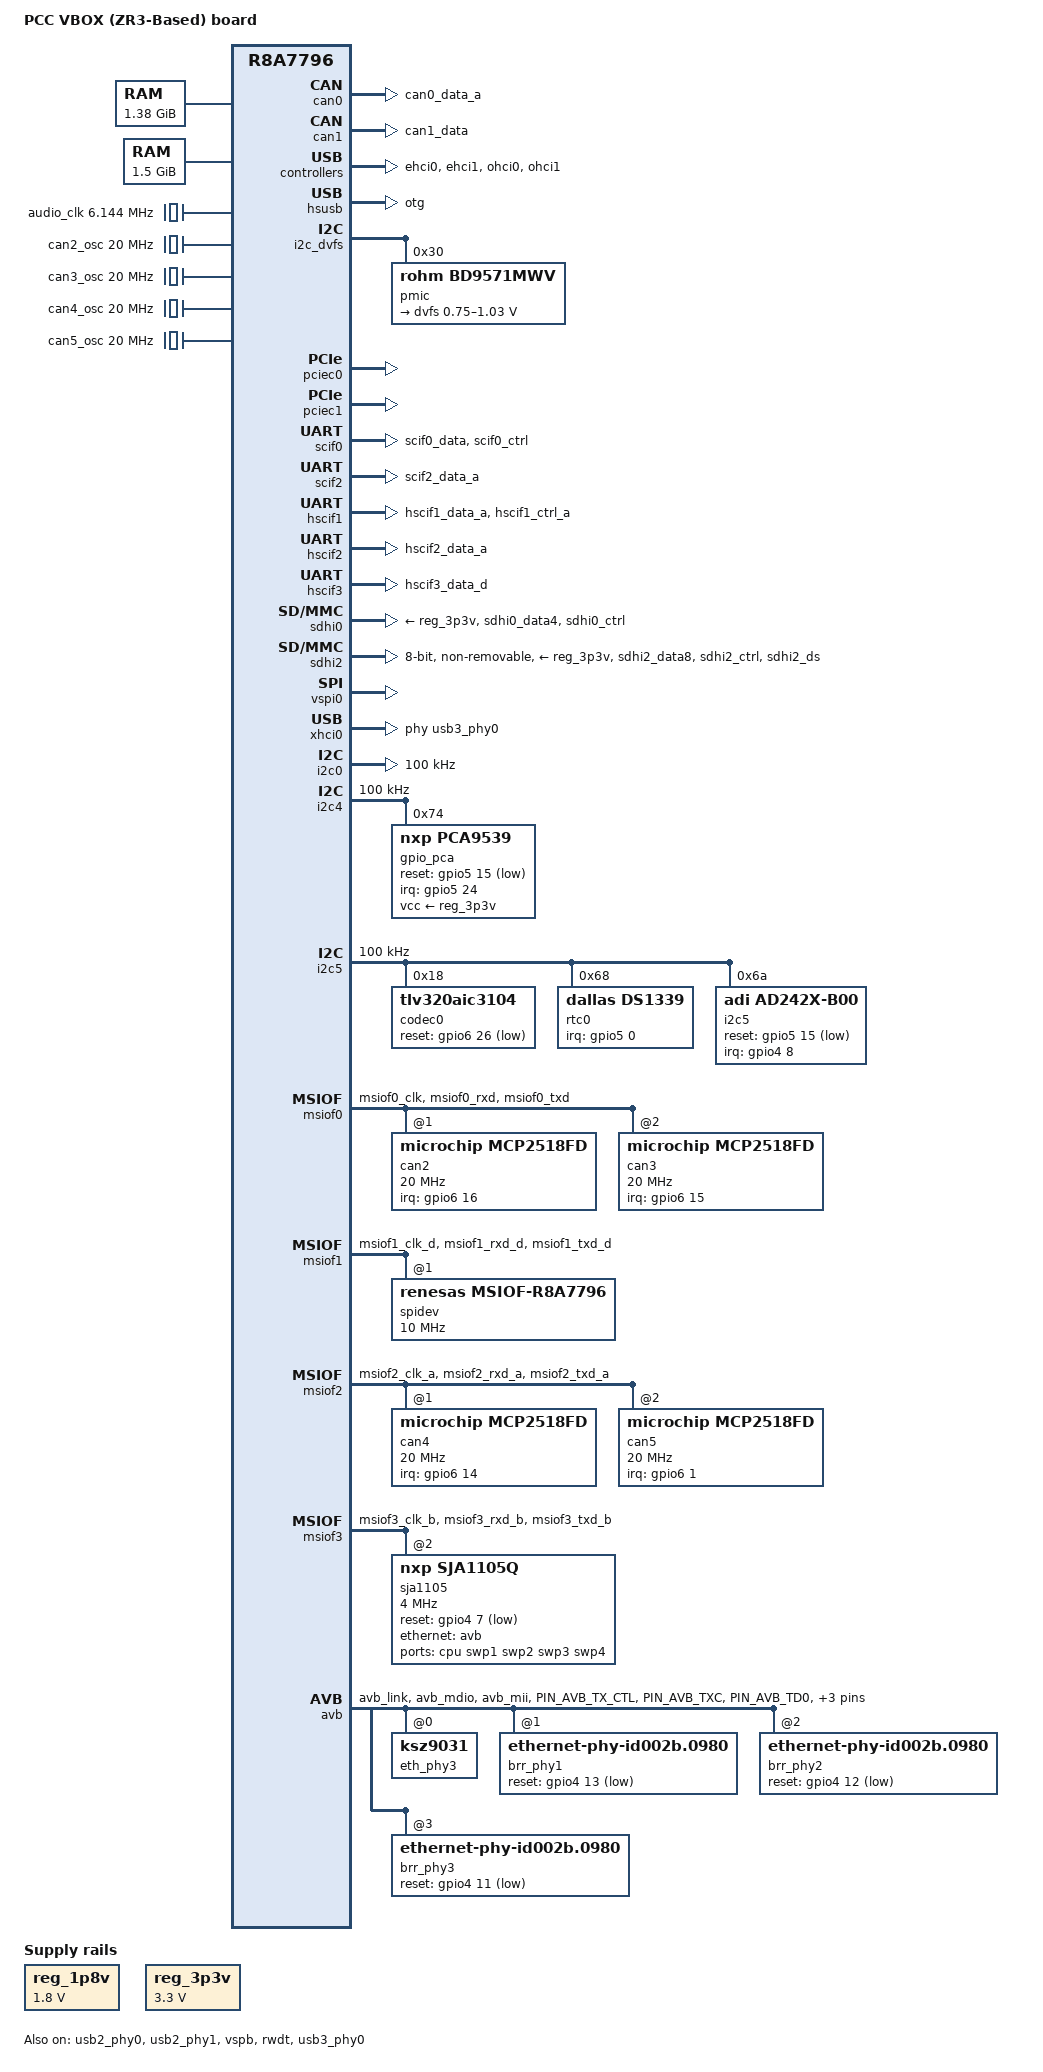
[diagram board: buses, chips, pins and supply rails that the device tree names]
/*
 * Device Tree Source for the PCC MIBSTD3 board
 *
 * Copyright (C) 2016 Renesas Electronics Corp.
 *
 * This file is licensed under the terms of the GNU General Public License
 * version 2.  This program is licensed "as is" without any warranty of any
 * kind, whether express or implied.
 */

#define NO_EXT_DOTCLK
#define DISPLAY_RESOLUTION 19201080
/* #define DISPLAY_RESOLUTION 19201200 */

/dts-v1/;
#include "r8a7796.dtsi"
#include <dt-bindings/gpio/gpio.h>

/ {
	model = "PCC VBOX (ZR3-Based) board";
	compatible = "renesas,salvator-x", "renesas,r8a7796";

	aliases {
		serial0 = &scif0;  /* Kernel */
		serial1 = &hscif1; /* uart_ext (BT on mib3)*/
		serial2 = &hscif2; /* uart_lin (GPS on mib3) */
		serial3 = &hscif3; /* uart_ext2 (unused on mib3) */
		serial4 = &scif2;  /* carcom (controlled by R7 on mib3) */
		ethernet0 = &avb;
		mmc0 = &sdhi0;
		mmc1 = &sdhi2;
	};

	chosen {
		bootargs = "ignore_loglevel";
		stdout-path = "serial0:115200n8";
	};

	/** Memory Map
	 *   0x0 4000 0000 -- 0x0 47ff ffff (size: 0x07ff ffff) 128MB reserved for secure area
	 *
	 *   0x0 4800 0000 -- 0x0 9fff ffff (size: 0x5800 0000 (1408MB))
	 *     reserved memory in this area:
	 *       0x5000 0000 -- 0x50ff ffff DSP               16MB
	 *       0x5100 0000 -- 0x513f ffff DSP shm log        3MB
	 *       0x5180 0000 -- 0x537f ffff CR7               32MB
	 *       0x5380 0000 -- 0x53ff ffff CR7 shared mem     8MB
	 *                       -> 0x53800000 1MB commgr shared mem
	 *                       -> 0x53900000 3MB r7 logbuff mem
	 *       0x5400 0000 -- 0x56ff ffff lossy decompress  48MB
	 *       0x5700 0000 -- 0x6fff ffff CMA              400MB
	 *       0x7000 0000 -- 0x8000 0000 Multimedia       256MB
	 *       0x8000 0000 -- 0x803f ffff DSP shared mem     4MB
	 *       -> commgr:     0x8000 0000 - 0x8010 0000   1MB
	 *       -> snd_ent.:   0x8010 0000 - 0x8000 7fff  32KB
	 *       -> snd_ann1:   0x8010 8000 - 0x8000 ffff  32KB
	 *       -> snd_ann2:   0x8011 0000 - 0x8001 7fff  32KB
	 *       -> snd_ann3:   0x8011 8000 - 0x8001 ffff  32KB
	 *
	 *   0x4 8000 0000 -- 0x4 dfff ffff (size: 0x6000 0000 (1536MB))
	 *
	 *   0x6 0000 0000 -- 0x6 5fff ffff (size: 0x6000 0000 (1536MB))
	 *
	 *   0x6 8000 0000 -- 0x6 dfff ffff (size: 0x6000 0000 (1536MB))
	 *
	 */

	memory@48000000 {
		device_type = "memory";
		/* first 128MB is reserved for secure area. */
		reg = <0x0 0x48000000 0x0 0x58000000>;
	};

	memory@480000000 {
		device_type = "memory";
		reg = <0x4 0x80000000 0x0 0x60000000>;
	};

/* only 3gb on vbox board
	memory@600000000 {
		device_type = "memory";
		reg = <0x6 0x00000000 0x0 0x60000000>;
	};

	memory@680000000 {
		device_type = "memory";
		reg = <0x6 0x80000000 0x0 0x60000000>;
	};
*/

	reserved-memory {
		#address-cells = <2>;
		#size-cells = <2>;
		ranges;

		/* device specific region for Lossy Decompression */
		lossy_decompress: linux,lossy_decompress {
			compatible = "shared-dma-pool";
			reg = <0x00000000 0x54000000 0x0 0x03000000>;
			no-map;
		};

		/* global autoconfigured region for contiguous allocations */
		linux,cma {
			compatible = "shared-dma-pool";
			reg = <0x00000000 0x57000000 0x0 0x19000000>;
			linux,cma-default;
			reusable;
		};

		/* device specific region for contiguous allocations */
		mmp_reserved: linux,multimedia {
			compatible = "shared-dma-pool";
			reg = <0x00000000 0x70000000 0x0 0x10000000>;
			reusable;
		};
	};

	du_dotclkin0: du_dotclkin0 {
		compatible = "fixed-clock";
		#clock-cells = <0>;
#if defined (NO_EXT_DOTCLK)
		status = "disabled";
		clock-frequency = <0>;
#else
		status = "okay";
#if DISPLAY_RESOLUTION == 19201080
		clock-frequency = <148500000>;
#elif DISPLAY_RESOLUTION == 19201200
		clock-frequency = <154128000>;
#else
#error Please specify a supported resolution
#endif /* of DISPLAY_RESOLUTION */
#endif /* of NO_EXT_DOTCLK */
	};


	audio_clk: audio_clk {
		compatible = "fixed-clock";
		#clock-cells = <0>;
		clock-frequency = /*<1536000>;/* 2 ch */ /*<3072000>; /* 4 ch */ <6144000>; /* 8 ch */
	};

	mmngr {
		compatible = "renesas,mmngr";
		memory-region = <&mmp_reserved>, <&lossy_decompress>;
	};

	mmngrbuf {
		compatible = "renesas,mmngrbuf";
	};

	reg_1p8v: regulator0 {
		compatible = "regulator-fixed";
		regulator-name = "fixed-1.8V";
		regulator-min-microvolt = <1800000>;
		regulator-max-microvolt = <1800000>;
		regulator-boot-on;
		regulator-always-on;
	};

	reg_3p3v: regulator1 {
		compatible = "regulator-fixed";
		regulator-name = "fixed-3.3V";
		regulator-min-microvolt = <3300000>;
		regulator-max-microvolt = <3300000>;
		regulator-boot-on;
		regulator-always-on;
	};

	vspm_if {
		compatible = "renesas,vspm_if";
	};

	can2_osc: can2_osc {
		compatible = "fixed-clock";
		#clock-cells = <0>;
		clock-frequency = <20000000>;
		status = "okay";
	};
	can3_osc: can3_osc {
		compatible = "fixed-clock";
		#clock-cells = <0>;
		clock-frequency = <20000000>;
		status = "okay";
	};
	can4_osc: can4_osc {
		compatible = "fixed-clock";
		#clock-cells = <0>;
		clock-frequency = <20000000>;
		status = "okay";
	};
	can5_osc: can5_osc {
		compatible = "fixed-clock";
		#clock-cells = <0>;
		clock-frequency = <20000000>;
		status = "okay";
	};
};

&can0 {
	pinctrl-0 = <&can0_pins>;
	pinctrl-names = "default";
	renesas,can-clock-select = <0x1>; /* choose clkp2 aka canfd-fi clock (80 MHz) as input */
	status = "okay";
};

&can1 {
	pinctrl-0 = <&can1_pins>;
	pinctrl-names = "default";
	renesas,can-clock-select = <0x1>; /* choose clkp2 aka canfd-fi clock (80 MHz) as input */
	status = "okay";
};

&a57_0 {
	cpu-supply = <&dvfs>;
};

&usb_extal_clk {
	clock-frequency = <50000000>;
};

&ehci0 {
	clocks = <&usb2_clock_sel>, <&cpg CPG_MOD 702>;
	status = "okay";
};

&ehci1 {
	clocks = <&usb2_clock_sel>, <&cpg CPG_MOD 702>;
	status = "okay";
};

&extal_clk {
	clock-frequency = <25000000>;
};

&hsusb {
	dr_mode= "otg";
	status = "okay";
};

&i2c_dvfs {
	status = "okay";

	pmic: pmic@30 {
		pinctrl-0 = <&irq0_pins>;
		pinctrl-names = "default";

		compatible = "rohm,bd9571mwv";
		reg = <0x30>;
		interrupt-parent = <&intc_ex>;
		interrupts = <0 IRQ_TYPE_LEVEL_LOW>;
		interrupt-controller;
		#interrupt-cells = <2>;
		gpio-controller;
		#gpio-cells = <2>;

		regulators {
			dvfs: dvfs {
				regulator-name = "dvfs";
				regulator-min-microvolt = <750000>;
				regulator-max-microvolt = <1030000>;
				regulator-boot-on;
				regulator-always-on;
			};
		};
	};
};

&ohci0 {
	nocp;
	status = "okay";
	clocks = <&usb2_clock_sel>, <&cpg CPG_MOD 702>;
};

&ohci1 {
	nocp;
	status = "okay";
	clocks = <&usb2_clock_sel>, <&cpg CPG_MOD 702>;
};

&pciec0 {
	status = "okay";
};

&pciec1 {
	status = "okay";
};

&pcie_bus_clk {
	clock-frequency = <100000000>;
	status = "okay";
};

&pfc {
	avb_pins: avb {
		mux {
			groups = "avb_link", "avb_mdio", "avb_mii";
			function = "avb";
		};

		pins_mdio {
			groups = "avb_mdio";
			drive-strength = <24>;
		};

		pins_mii_tx {
			pins = "PIN_AVB_TX_CTL", "PIN_AVB_TXC", "PIN_AVB_TD0",
				"PIN_AVB_TD1", "PIN_AVB_TD2", "PIN_AVB_TD3";
			drive-strength = <12>;
		};
	};

	hscif1_pins: hscif1 {
		groups = "hscif1_data_a", "hscif1_ctrl_a";
		function = "hscif1";
	};

	hscif2_pins: hscif2 {
		groups = "hscif2_data_a";
		function = "hscif2";
	};

	hscif3_pins: hscif3 {
		groups = "hscif3_data_d";
		function = "hscif3";
	};

	// Workaround: Disable msiof*_ss* to be able to control the CSs via GPIOs
	msiof0_pins: spi0 {
		//groups = "msiof0_clk", "msiof0_ss1", "msiof0_ss2",
		//	 "msiof0_rxd", "msiof0_txd";
		groups = "msiof0_clk", "msiof0_rxd", "msiof0_txd";
		function = "msiof0";
	};

	msiof1_pins: spi1 {
		//groups = "msiof1_clk_d", "msiof1_ss1_d",
		//	 "msiof1_rxd_d", "msiof1_txd_d";
		groups = "msiof1_clk_d", "msiof1_rxd_d", "msiof1_txd_d";
		function = "msiof1";
	};

	msiof2_pins: spi2 {
		//groups = "msiof2_clk_a", "msiof2_ss1_a", "msiof2_ss2_a",
		//	 "msiof2_rxd_a", "msiof2_txd_a";
		groups = "msiof2_clk_a", "msiof2_rxd_a", "msiof2_txd_a";
		function = "msiof2";
	};

	msiof3_pins: spi3 {
		//groups = "msiof3_clk_b", "msiof3_ss1_b", "msiof3_ss2_b",
		//	 "msiof3_rxd_b", "msiof3_txd_b";
		groups = "msiof3_clk_b", "msiof3_rxd_b", "msiof3_txd_b";
		function = "msiof3";
	};

	scif0_pins: scif0 {
		groups = "scif0_data", "scif0_ctrl";
		function = "scif0";
	};

	scif2_pins: scif2 {
		groups = "scif2_data_a";
		function = "scif2";
	};

	sdhi0_pins: sd0 {
		groups = "sdhi0_data4", "sdhi0_ctrl";
		function = "sdhi0";
		power-source = <3300>;
	};

	sdhi2_pins: sd2 {
		groups = "sdhi2_data8", "sdhi2_ctrl", "sdhi2_ds";
		function = "sdhi2";
		power-source = <3300>;
	};

	sdhi2_pins_uhs: sd2_uhs {
		groups = "sdhi2_data8", "sdhi2_ctrl", "sdhi2_ds";
		function = "sdhi2";
		power-source = <1800>;
	};

	sound_pins: sound {
		groups = "ssi01239_ctrl", "ssi0_data", "ssi1_data_a", "ssi2_data_a", "ssi9_data_a",
			"ssi6_ctrl", "ssi6_data",
			"ssi78_ctrl", "ssi7_data", "ssi8_data";
		function = "ssi";
	};

	sound_clk_pins: sound_clk {
		groups = "audio_clkout_a";
		function = "audio_clk";
	};

	irq0_pins: irq0 {
		groups = "intc_ex_irq0";
		function = "intc_ex";
	};

	can0_pins: can0 {
		groups = "can0_data_a";
		function = "can0";
	};

	can1_pins: can1 {
		groups = "can1_data";
		function = "can1";
	};
};

/* ttySC0 - kernel, GP5-1,2 */
&scif0 {
	pinctrl-0 = <&scif0_pins>;
	pinctrl-names = "default";
	/* Please use exclusively to the hscif1 node */
	uart-has-rtscts;
	status = "okay";
};

/* ttySCx - carcom, GP5-10,11 */
&scif2 {
	pinctrl-0 = <&scif2_pins>;
	pinctrl-names = "default";
	status = "okay";
};

/* ttySCx - uart_ext (BT) GP5-5,6,7,8 */
&hscif1 {
	pinctrl-0 = <&hscif1_pins>;
	pinctrl-names = "default";
	uart-has-rtscts;
	status = "okay";
};


/* ttySCx - uart_lin (GPS) */
&hscif2 {
	pinctrl-0 = <&hscif2_pins>;
	pinctrl-names = "default";
	status = "okay";
};

/* ttySCx - uart_ext2 (was unusued) */
&hscif3 {
	pinctrl-0 = <&hscif3_pins>;
	pinctrl-names = "default";
	status = "okay";
};

&sdhi0 {
	/* used for micro sd slot */
	pinctrl-0 = <&sdhi0_pins>;
	pinctrl-names = "default";

	vmmc-supply = <&reg_3p3v>;
	vqmmc-supply = <&reg_1p8v>;
	status = "okay";
};

&sdhi2 {
	/* used for on-board 8bit eMMC */
	pinctrl-0 = <&sdhi2_pins>;
	pinctrl-1 = <&sdhi2_pins_uhs>;
	pinctrl-names = "default", "state_uhs";

	vmmc-supply = <&reg_3p3v>;
	vqmmc-supply = <&reg_1p8v>;
	mmc-hs200-1_8v;
	/delete-property/ mmc-hs400-1_8v;
	bus-width = <8>;
	drive-strength = <1>;
	non-removable;
	status = "okay";
};

&usb2_phy0 {
	pinctrl-names = "default";
	status = "okay";
};

&usb2_phy1 {
	pinctrl-names = "default";
	status = "okay";
};

&vspb {
	status = "okay";
};

&vspi0 {
	status = "okay";
};

&rwdt {
	timeout-sec = <60>;
	status = "okay";
};

&usb3_phy0 {
	status = "okay";
};

&xhci0 {
	status = "okay";
	phy-names = "usb";
	phys = <&usb3_phy0>;
};

/* i2c0 used for external stuff (connectors X14 / X20) */
&i2c0 {
	clock-frequency = <100000>;
	status = "okay";
};

/* i2c4 used for gpio expander */
&i2c4 {
	clock-frequency = <100000>;
	status = "okay";
	gpio_pca: gpio@74 {
		compatible = "nxp,pca9539";
		reg = <0x74>;
		gpio-controller;
		#gpio-cells = <2>;
		ngpios = <16>;
		interrupt-parent = <&gpio5>;
		interrupts = <24 IRQ_TYPE_LEVEL_LOW>;
		reset-gpios = <&gpio5 15 GPIO_ACTIVE_LOW>;
		vcc-supply = <&reg_3p3v>;
	};
};

/* i2c5 used for a2b (ad2428), audio codec (tlv320aic3104) and rtc (ds1339u) */
&i2c5 {
	clock-frequency = <100000>;
	status = "okay";

	codec0: tlv320aic@18 {
		compatible = "tlv320aic3104";
		reg = <0x18>;
		reset-gpios = <&gpio6 26 GPIO_ACTIVE_LOW>;
	};

	rtc0: ds1339@68 {
		compatible = "dallas,ds1339";
		reg = <0x68>;
		trickle-diode-disable;
		interrupt-parent = <&gpio5>;
		interrupts = <0 IRQ_TYPE_EDGE_FALLING>;
	};

	i2c5@6A {
		compatible = "adi,ad242x-b00";
		reg = <0x6A>;

		#sound-dai-cells = <0>;
		clocks = <&cpg CPG_MOD 1012>; /* ssi3 module clock */
		clock-names = "mclk";         /* 48kHz sync clock from ssi34_ws */
		interrupt-parent = <&gpio4>;reset-gpios = <&gpio5 15 GPIO_ACTIVE_LOW>;
		interrupts = <8 IRQ_TYPE_EDGE_RISING>;
	};
};



/* SPI_CAN23 */
&msiof0 {
	pinctrl-0 = <&msiof0_pins>;
	pinctrl-names = "default";
	status = "okay";
	cs-gpios = <0>, <&gpio5 19 GPIO_ACTIVE_LOW>, <&gpio5 21 GPIO_ACTIVE_LOW>;
	num-cs = <3>;
	can2: mcp2518fd@1 {
		compatible = "microchip,mcp2518fd";
		reg = <1>;
		spi-max-frequency = <20000000>;
		interrupt-parent = <&gpio6>;
		interrupts = <16 IRQ_TYPE_LEVEL_LOW>;
		clock-names = "can2_clk";
		clocks = <&can2_osc>;
	};
	can3: mcp2518fd@2 {
		compatible = "microchip,mcp2518fd";
		reg = <2>;
		spi-max-frequency = <20000000>;
		interrupt-parent = <&gpio6>;
		interrupts = <15 IRQ_TYPE_LEVEL_LOW>;
		clock-names = "can3_clk";
		clocks = <&can3_osc>;
	};
};

/* SPI_EXT */
&msiof1 {
	pinctrl-0 = <&msiof1_pins>;
	pinctrl-names = "default";
	status = "okay";
	cs-gpios = <0>, <&gpio5 16 GPIO_ACTIVE_LOW>;
	num-cs = <2>;
	spidev@1 {
		compatible = "renesas,msiof-r8a7796";
		reg = <1>;
		spi-max-frequency = <10000000>;
	};
};

/* SPI_CAN45 */
&msiof2 {
	pinctrl-0 = <&msiof2_pins>;
	pinctrl-names = "default";
	status = "okay";

	cs-gpios = <0>, <&gpio1 6 GPIO_ACTIVE_LOW>, <&gpio1 7 GPIO_ACTIVE_LOW>;
	num-cs = <3>;

	can4: mcp2518fd@1 {
		compatible = "microchip,mcp2518fd";
		reg = <1>;
		spi-max-frequency = <20000000>;
		interrupt-parent = <&gpio6>;
		interrupts = <14 IRQ_TYPE_LEVEL_LOW>;
		clock-names = "can4_clk";
		clocks = <&can4_osc>;
	};
	can5: mcp2518fd@2 {
		compatible = "microchip,mcp2518fd";
		reg = <2>;
		spi-max-frequency = <20000000>;
		interrupt-parent = <&gpio6>;
		interrupts = <1 IRQ_TYPE_LEVEL_LOW>;
		clock-names = "can5_clk";
		clocks = <&can5_osc>;
	};
};

/* SPI_ETH */
&msiof3 {
	pinctrl-0 = <&msiof3_pins>;
	pinctrl-names = "default";
	status = "okay";
	cs-gpios = <0>, <0>, <&gpio1 5 GPIO_ACTIVE_LOW>;
	num-cs = <3>;

	/* SPI3 CS2-SJA1105 mode 1 */
	sja1105@2 {
		compatible = "nxp,sja1105q";
		reg = <2>;
		spi-max-frequency = <4000000>;
		spi-cpha;
		renesas,dtdl = <200>;
		renesas,syncdl = <300>;
		reset-gpios = <&gpio4 7 GPIO_ACTIVE_LOW>;
		status = "okay";
		ports {
			#address-cells = <1>;
			#size-cells = <0>;
			port@0 {
				/* Internal port connected to ethernet port of cpu */
				label = "cpu";
				ethernet = <&avb>;
				phy-mode = "rgmii";
				rx-internal-delay-ps = <0>;
				tx-internal-delay-ps = <0>;
				reg = <0>;
				sja1105,role-phy;

				/* Connect to the fixed link of the MAC */
				fixed-link {
					speed = <1000>;
					full-duplex;
				};
			};
			port@1 {
				/* ETH3 (goes to backplane) */
				label = "swp1";
				phy-handle = <&eth_phy3>;
				phy-mode = "rgmii-id";
				rx-internal-delay-ps = <0>;
				tx-internal-delay-ps = <0>;
				reg = <1>;
				/* Implicit "sja1105,role-mac;" */
			};
			port@2 {
				/* brr phy 1 (goes to backplane) */
				label = "swp2";
				phy-handle = <&brr_phy1>;
				phy-mode = "rgmii-id";
				rx-internal-delay-ps = <0>;
				tx-internal-delay-ps = <0>;
				reg = <2>;
				/* Implicit "sja1105,role-mac;" */
			};
			port@3 {
				/* brr phy 2 (goes to backplane) */
				phy-handle = <&brr_phy2>;
				label = "swp3";
				phy-mode = "rgmii-id";
				rx-internal-delay-ps = <0>;
				tx-internal-delay-ps = <0>;
				reg = <3>;
				/* Implicit "sja1105,role-mac;" */
			};
			port@4 {
				/* brr phy 3 (goes to backplane) */
				label = "swp4";
				phy-handle = <&brr_phy3>;
				phy-mode = "rgmii-id";
				rx-internal-delay-ps = <0>;
				tx-internal-delay-ps = <0>;
				reg = <4>;
				/* Implicit "sja1105,role-mac;" */
			};

		};

	};
};

&avb {
	pinctrl-0 = <&avb_pins>;
	pinctrl-names = "default";
	status = "okay";
	phy-mode = "rgmii-id";
	/* Provide delay property to activate internal fixed delay! */
	rx-internal-delay-ps = <1>;
	tx-internal-delay-ps = <1>;

	fixed-link {
		speed = <1000>;
		full-duplex;
	};

	eth_phy3: ksz9031@0 {
		//compatible = "microchip,ksz9031";
		reg = <0>;
		//interrupt-parent = <&gpio4>;
		//interrupts = <17 IRQ_TYPE_LEVEL_LOW>;
		//reset-gpios = <&gpio6 27 GPIO_ACTIVE_LOW>;
		/* After the de-assertion of reset, wait a minimum of 100 μs before starting programming on the MIIM (MDC/MDIO) interface. + 10% */
		//reset-deassert-us = <110>;

		// Introduce a Clk skew rate delay to sync the TX and Rx between SOC <-> Switch <-> PHY
		// TODO: The accurate Clk skew rate delay/adjustment should be measured
		rxc-skew-ps = <3000>;
		rxdv-skew-ps = <0>;
		txc-skew-ps = <3000>;
		txen-skew-ps = <0>;
	};
	brr_phy1: mv88q2xxx@1 {
		// mv88q2110
		compatible = "ethernet-phy-id002b.0980";
		// mv88q2220 (Rev.B#) patched/activated inline by the BL2 (if necessary)
		//compatible = "ethernet-phy-id002b.0b20";
		reg = <1>;
		//interrupt-parent = <&gpio2>;
		//interrupts = <10 IRQ_TYPE_LEVEL_LOW>;
		reset-gpios = <&gpio4 13 GPIO_ACTIVE_LOW>;
	};
	brr_phy2: mv88q2xxx@2 {
		// mv88q2110
		compatible = "ethernet-phy-id002b.0980";
		// mv88q2220 (Rev.B#) patched/activated inline by the BL2 (if necessary)
		//compatible = "ethernet-phy-id002b.0b20";
		reg = <2>;
		//interrupt-parent = <&gpio2>;
		//interrupts = <11 IRQ_TYPE_LEVEL_LOW>;
		reset-gpios = <&gpio4 12 GPIO_ACTIVE_LOW>;
	};
	brr_phy3: mv88q2xxx@3 {
		// mv88q2110
		compatible = "ethernet-phy-id002b.0980";
		// mv88q2220 (Rev.B#) patched/activated inline by the BL2 (if necessary)
		//compatible = "ethernet-phy-id002b.0b20";
		reg = <3>;
		//interrupt-parent = <&gpio2>;
		//interrupts = <12 IRQ_TYPE_LEVEL_LOW>;
		reset-gpios = <&gpio4 11 GPIO_ACTIVE_LOW>;
	};
};
